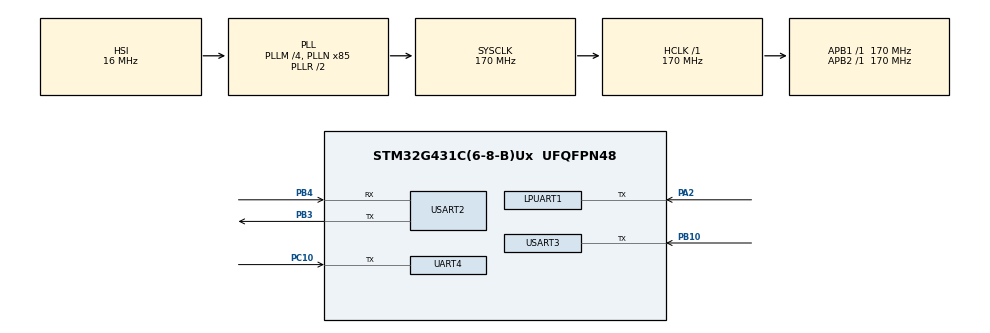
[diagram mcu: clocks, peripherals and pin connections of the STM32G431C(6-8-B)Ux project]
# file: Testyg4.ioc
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Dma.LPUART1_RX.2.Direction=DMA_PERIPH_TO_MEMORY
Dma.LPUART1_RX.2.EventEnable=DISABLE
Dma.LPUART1_RX.2.Instance=DMA1_Channel3
Dma.LPUART1_RX.2.MemDataAlignment=DMA_MDATAALIGN_BYTE
Dma.LPUART1_RX.2.MemInc=DMA_MINC_ENABLE
Dma.LPUART1_RX.2.Mode=DMA_CIRCULAR
Dma.LPUART1_RX.2.PeriphDataAlignment=DMA_PDATAALIGN_BYTE
Dma.LPUART1_RX.2.PeriphInc=DMA_PINC_DISABLE
Dma.LPUART1_RX.2.Polarity=HAL_DMAMUX_REQ_GEN_RISING
Dma.LPUART1_RX.2.Priority=DMA_PRIORITY_HIGH
Dma.LPUART1_RX.2.RequestNumber=1
Dma.LPUART1_RX.2.SignalID=NONE
Dma.LPUART1_RX.2.SyncEnable=DISABLE
Dma.LPUART1_RX.2.SyncPolarity=HAL_DMAMUX_SYNC_NO_EVENT
Dma.LPUART1_RX.2.SyncRequestNumber=1
Dma.LPUART1_RX.2.SyncSignalID=NONE
Dma.Request0=USART2_RX
Dma.Request1=USART3_RX
Dma.Request2=LPUART1_RX
Dma.Request3=UART4_RX
Dma.UART4_RX.3.Direction=DMA_PERIPH_TO_MEMORY
Dma.UART4_RX.3.EventEnable=DISABLE
Dma.UART4_RX.3.Instance=DMA1_Channel4
Dma.UART4_RX.3.MemDataAlignment=DMA_MDATAALIGN_BYTE
Dma.UART4_RX.3.MemInc=DMA_MINC_ENABLE
Dma.UART4_RX.3.Mode=DMA_CIRCULAR
Dma.UART4_RX.3.PeriphDataAlignment=DMA_PDATAALIGN_BYTE
Dma.UART4_RX.3.PeriphInc=DMA_PINC_DISABLE
Dma.UART4_RX.3.Polarity=HAL_DMAMUX_REQ_GEN_RISING
Dma.UART4_RX.3.Priority=DMA_PRIORITY_HIGH
Dma.UART4_RX.3.RequestNumber=1
Dma.UART4_RX.3.SignalID=NONE
Dma.UART4_RX.3.SyncEnable=DISABLE
Dma.UART4_RX.3.SyncPolarity=HAL_DMAMUX_SYNC_NO_EVENT
Dma.UART4_RX.3.SyncRequestNumber=1
Dma.UART4_RX.3.SyncSignalID=NONE
Dma.USART2_RX.0.Direction=DMA_PERIPH_TO_MEMORY
Dma.USART2_RX.0.EventEnable=DISABLE
Dma.USART2_RX.0.Instance=DMA1_Channel1
Dma.USART2_RX.0.MemDataAlignment=DMA_MDATAALIGN_BYTE
Dma.USART2_RX.0.MemInc=DMA_MINC_ENABLE
Dma.USART2_RX.0.Mode=DMA_CIRCULAR
Dma.USART2_RX.0.PeriphDataAlignment=DMA_PDATAALIGN_BYTE
Dma.USART2_RX.0.PeriphInc=DMA_PINC_DISABLE
Dma.USART2_RX.0.Polarity=HAL_DMAMUX_REQ_GEN_RISING
Dma.USART2_RX.0.Priority=DMA_PRIORITY_HIGH
Dma.USART2_RX.0.RequestNumber=1
Dma.USART2_RX.0.SignalID=NONE
Dma.USART2_RX.0.SyncEnable=DISABLE
Dma.USART2_RX.0.SyncPolarity=HAL_DMAMUX_SYNC_NO_EVENT
Dma.USART2_RX.0.SyncRequestNumber=1
Dma.USART2_RX.0.SyncSignalID=NONE
Dma.USART3_RX.1.Direction=DMA_PERIPH_TO_MEMORY
Dma.USART3_RX.1.EventEnable=DISABLE
Dma.USART3_RX.1.Instance=DMA1_Channel2
Dma.USART3_RX.1.MemDataAlignment=DMA_MDATAALIGN_BYTE
Dma.USART3_RX.1.MemInc=DMA_MINC_ENABLE
Dma.USART3_RX.1.Mode=DMA_CIRCULAR
Dma.USART3_RX.1.PeriphDataAlignment=DMA_PDATAALIGN_BYTE
Dma.USART3_RX.1.PeriphInc=DMA_PINC_DISABLE
Dma.USART3_RX.1.Polarity=HAL_DMAMUX_REQ_GEN_RISING
Dma.USART3_RX.1.Priority=DMA_PRIORITY_HIGH
Dma.USART3_RX.1.RequestNumber=1
Dma.USART3_RX.1.SignalID=NONE
Dma.USART3_RX.1.SyncEnable=DISABLE
Dma.USART3_RX.1.SyncPolarity=HAL_DMAMUX_SYNC_NO_EVENT
Dma.USART3_RX.1.SyncRequestNumber=1
Dma.USART3_RX.1.SyncSignalID=NONE
LPUART1.BaudRate=115200
LPUART1.Mode=UART_MODE_RX
Mcu.Family=STM32G4
Mcu.Name=STM32G431C(6-8-B)Ux
Mcu.Package=UFQFPN48
NVIC.DMA1_Channel1_IRQn=true\:0\:0\:false\:false\:true\:false\:true\:true
NVIC.DMA1_Channel2_IRQn=true\:0\:0\:false\:false\:true\:false\:true\:true
NVIC.DMA1_Channel3_IRQn=true\:0\:0\:false\:false\:true\:false\:true\:true
NVIC.DMA1_Channel4_IRQn=true\:0\:0\:false\:false\:true\:false\:true\:true
NVIC.LPUART1_IRQn=true\:0\:0\:false\:false\:true\:true\:true\:true
NVIC.PriorityGroup=NVIC_PRIORITYGROUP_4
NVIC.UART4_IRQn=true\:0\:0\:false\:false\:true\:true\:true\:true
NVIC.USART2_IRQn=true\:0\:0\:false\:false\:true\:true\:true\:true
PA13.Mode=Serial_Wire
PA13.Signal=SYS_JTMS-SWDIO
PA14.Mode=Serial_Wire
PA14.Signal=SYS_JTCK-SWCLK
PA2.Mode=Half_duplex(single_wire_mode)
PA2.Signal=LPUART1_TX
PB10.Mode=Half_duplex(single_wire_mode)
PB10.Signal=USART3_TX
PB3.Mode=Asynchronous
PB3.Signal=USART2_TX
PB4.Mode=Asynchronous
PB4.Signal=USART2_RX
PC10.Mode=Half_duplex(single_wire_mode)
PC10.Signal=UART4_TX
ProjectManager.HeapSize=0x200
ProjectManager.StackSize=0x400
ProjectManager.TargetToolchain=STM32CubeIDE
RCC.ADC12Freq_Value=170000000
RCC.AHBFreq_Value=170000000
RCC.APB1Freq_Value=170000000
RCC.APB1TimFreq_Value=170000000
RCC.APB2Freq_Value=170000000
RCC.APB2TimFreq_Value=170000000
RCC.CortexFreq_Value=170000000
RCC.EXTERNAL_CLOCK_VALUE=12288000
RCC.HCLKFreq_Value=170000000
RCC.HSE_VALUE=8000000
RCC.HSI48_VALUE=48000000
RCC.HSI_VALUE=16000000
RCC.LSE_VALUE=32768
RCC.PLLM=RCC_PLLM_DIV4
RCC.PLLN=85
RCC.SYSCLKFreq_VALUE=170000000
RCC.SYSCLKSource=RCC_SYSCLKSOURCE_PLLCLK
RCC.USBFreq_Value=170000000
RCC.VCOOutputFreq_Value=340000000
UART4.Mode=MODE_RX
USART2.VirtualMode-Asynchronous=VM_ASYNC
USART3.Mode=MODE_RX
USART3.VirtualMode-Half_duplex(single_wire_mode)=VM_ASYNC
VP_SYS_VS_DBSignals.Mode=DisableDeadBatterySignals
board=custom

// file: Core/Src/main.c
/* USER CODE BEGIN Header */
/**
  ******************************************************************************
  * @file           : main.c
  * @brief          : Main program body
  ******************************************************************************
  * @attention
  *
  * Copyright (c) 2026 STMicroelectronics.
  * All rights reserved.
  *
  * This software is licensed under terms that can be found in the LICENSE file
  * in the root directory of this software component.
  * If no LICENSE file comes with this software, it is provided AS-IS.
  *
  ******************************************************************************
  */
/* USER CODE END Header */
#include "main.h"

/* USER CODE BEGIN PD */
typedef struct {
    uint8_t state;
} AckParser;
/* USER CODE END PD */

UART_HandleTypeDef hlpuart1;
UART_HandleTypeDef huart4;
UART_HandleTypeDef huart2;
UART_HandleTypeDef huart3;
DMA_HandleTypeDef hdma_lpuart1_rx;
DMA_HandleTypeDef hdma_uart4_rx;
DMA_HandleTypeDef hdma_usart2_rx;
DMA_HandleTypeDef hdma_usart3_rx;

/* USER CODE BEGIN PV */
int32_t dupa = 0;
volatile uint8_t UART_TX[8];
volatile uint8_t UART1_RX[9];
volatile uint8_t UART2_RX[9];
volatile uint8_t UART3_RX[9];
volatile uint8_t UART4_RX[9];
uint8_t statusRX=0;
uint8_t statusTX=0;
uint8_t statusRX2=0;
uint8_t statusTX2=0;
/* USER CODE END PV */

void SystemClock_Config(void);
static void MX_GPIO_Init(void);
static void MX_DMA_Init(void);
static void MX_USART2_UART_Init(void);
static void MX_USART3_UART_Init(void);
static void MX_LPUART1_UART_Init(void);
static void MX_UART4_Init(void);
/* USER CODE BEGIN PFP */
static void AckParser_Push(AckParser *p, uint8_t b, volatile uint8_t *ack);
static void Luna_StartRx(UART_HandleTypeDef *huart, uint8_t *buffer, uint16_t size);
/* USER CODE END PFP */

/* USER CODE BEGIN 0 */
#define LUNA_DMA_SIZE 32U

static uint8_t rx1_dma[LUNA_DMA_SIZE];
static uint8_t rx2_dma[LUNA_DMA_SIZE];
static uint8_t rx3_dma[LUNA_DMA_SIZE];
static uint8_t rx4_dma[LUNA_DMA_SIZE];

HAL_StatusTypeDef txStatus;

static AckParser parser1;
static AckParser parser2;
static AckParser parser3;
static AckParser parser4;

static volatile uint8_t ack1;
static volatile uint8_t ack2;
static volatile uint8_t ack3;
static volatile uint8_t ack4;
/* USER CODE END 0 */

int main(void)
{

  /* MCU Configuration--------------------------------------------------------*/

  /* Reset of all peripherals, Initializes the Flash interface and the Systick. */
  HAL_Init();

  /* Configure the system clock */
  SystemClock_Config();

  /* Initialize all configured peripherals */
  MX_GPIO_Init();
  MX_DMA_Init();
  MX_USART2_UART_Init();
  MX_USART3_UART_Init();
  MX_LPUART1_UART_Init();
  MX_UART4_Init();
  /* USER CODE BEGIN 2 */

	//LIDARS OFF
	UART_TX[0] = 0x5A;
	UART_TX[1] = 0x05;
	UART_TX[2] = 0x07;
	UART_TX[3] = 0x00;
	UART_TX[4] = (UART_TX[0] + UART_TX[1] + UART_TX[2] + UART_TX[3]) % 0x100;
	//HAL_UART_Transmit(&huart2, UART_TX, 5, 300);
	//HAL_UART_Receive(&hlpuart1, UART1_RX, 4, 300);

	//statusTX = HAL_UART_Transmit(&huart2, UART_TX, 5, 300);
	//statusRX = HAL_UART_Receive(&huart2, UART2_RX, 4, 300);
/*
	statusTX2 =HAL_UART_Transmit(&huart2, UART_TX, 5, 300);
	statusRX2 = HAL_UART_Receive(&huart4, UART4_RX, 3, 300);

	HAL_Delay(100);

	statusTX = HAL_UART_Transmit(&huart2, UART_TX, 5, 300);
	statusRX = HAL_UART_Receive(&huart3, UART3_RX, 3, 300);

	*/
	Luna_StartRx(&hlpuart1, rx1_dma, sizeof rx1_dma);
	Luna_StartRx(&huart2, rx2_dma, sizeof rx2_dma);
	Luna_StartRx(&huart3, rx3_dma, sizeof rx3_dma);
	Luna_StartRx(&huart4, rx4_dma, sizeof rx4_dma);

	static const uint8_t cmd_disable_output[5] = {
	    0x5A, 0x05, 0x07, 0x00, 0x66
	};

	ack1 = 0;
	ack2 = 0;
	ack3 = 0;
	ack4 = 0;

	txStatus =
	    HAL_UART_Transmit(&huart2,
	                      (uint8_t *)cmd_disable_output,
	                      sizeof(cmd_disable_output),
	                      100);

	if (txStatus != HAL_OK) {
	    // Błąd nadawania z MCU.
	}

	uint32_t start = HAL_GetTick();
	while (((ack1 == 0) || (ack2 == 0) || (ack3 == 0) || (ack4 == 0)) &&
	       ((HAL_GetTick() - start) < 1000U)) {
	    // Nie blokuj odbioru; oba RX-y działają w DMA.
	}

	if (ack1 && ack2 && ack3 && ack4) {
	    // Oba czujniki potwierdziły wyłączenie.
	} else {
	    // Brak potwierdzenia: sprawdź osobno ack3 i ack4.
	}

  /* USER CODE END 2 */

  /* Infinite loop */
  /* USER CODE BEGIN WHILE */
  while (1)
  {

	  dupa=dupa+1;

    /* USER CODE END WHILE */

  }
}

void SystemClock_Config(void)
{
  RCC_OscInitTypeDef RCC_OscInitStruct = {0};
  RCC_ClkInitTypeDef RCC_ClkInitStruct = {0};

  /** Configure the main internal regulator output voltage
  */
  HAL_PWREx_ControlVoltageScaling(PWR_REGULATOR_VOLTAGE_SCALE1_BOOST);

  /** Initializes the RCC Oscillators according to the specified parameters
  * in the RCC_OscInitTypeDef structure.
  */
  RCC_OscInitStruct.OscillatorType = RCC_OSCILLATORTYPE_HSI;
  RCC_OscInitStruct.HSIState = RCC_HSI_ON;
  RCC_OscInitStruct.HSICalibrationValue = RCC_HSICALIBRATION_DEFAULT;
  RCC_OscInitStruct.PLL.PLLState = RCC_PLL_ON;
  RCC_OscInitStruct.PLL.PLLSource = RCC_PLLSOURCE_HSI;
  RCC_OscInitStruct.PLL.PLLM = RCC_PLLM_DIV4;
  RCC_OscInitStruct.PLL.PLLN = 85;
  RCC_OscInitStruct.PLL.PLLP = RCC_PLLP_DIV2;
  RCC_OscInitStruct.PLL.PLLQ = RCC_PLLQ_DIV2;
  RCC_OscInitStruct.PLL.PLLR = RCC_PLLR_DIV2;
  if (HAL_RCC_OscConfig(&RCC_OscInitStruct) != HAL_OK)
  {
    Error_Handler();
  }

  /** Initializes the CPU, AHB and APB buses clocks
  */
  RCC_ClkInitStruct.ClockType = RCC_CLOCKTYPE_HCLK|RCC_CLOCKTYPE_SYSCLK
                              |RCC_CLOCKTYPE_PCLK1|RCC_CLOCKTYPE_PCLK2;
  RCC_ClkInitStruct.SYSCLKSource = RCC_SYSCLKSOURCE_PLLCLK;
  RCC_ClkInitStruct.AHBCLKDivider = RCC_SYSCLK_DIV1;
  RCC_ClkInitStruct.APB1CLKDivider = RCC_HCLK_DIV1;
  RCC_ClkInitStruct.APB2CLKDivider = RCC_HCLK_DIV1;

  if (HAL_RCC_ClockConfig(&RCC_ClkInitStruct, FLASH_LATENCY_4) != HAL_OK)
  {
    Error_Handler();
  }
}

static void MX_LPUART1_UART_Init(void)
{

  hlpuart1.Instance = LPUART1;
  hlpuart1.Init.BaudRate = 115200;
  hlpuart1.Init.WordLength = UART_WORDLENGTH_8B;
  hlpuart1.Init.StopBits = UART_STOPBITS_1;
  hlpuart1.Init.Parity = UART_PARITY_NONE;
  hlpuart1.Init.Mode = UART_MODE_RX;
  hlpuart1.Init.HwFlowCtl = UART_HWCONTROL_NONE;
  hlpuart1.Init.OneBitSampling = UART_ONE_BIT_SAMPLE_DISABLE;
  hlpuart1.Init.ClockPrescaler = UART_PRESCALER_DIV1;
  hlpuart1.AdvancedInit.AdvFeatureInit = UART_ADVFEATURE_NO_INIT;
  if (HAL_HalfDuplex_Init(&hlpuart1) != HAL_OK)
  {
    Error_Handler();
  }
  if (HAL_UARTEx_SetTxFifoThreshold(&hlpuart1, UART_TXFIFO_THRESHOLD_1_8) != HAL_OK)
  {
    Error_Handler();
  }
  if (HAL_UARTEx_SetRxFifoThreshold(&hlpuart1, UART_RXFIFO_THRESHOLD_1_8) != HAL_OK)
  {
    Error_Handler();
  }
  if (HAL_UARTEx_DisableFifoMode(&hlpuart1) != HAL_OK)
  {
    Error_Handler();
  }

}

static void MX_UART4_Init(void)
{

  huart4.Instance = UART4;
  huart4.Init.BaudRate = 115200;
  huart4.Init.WordLength = UART_WORDLENGTH_8B;
  huart4.Init.StopBits = UART_STOPBITS_1;
  huart4.Init.Parity = UART_PARITY_NONE;
  huart4.Init.Mode = UART_MODE_RX;
  huart4.Init.HwFlowCtl = UART_HWCONTROL_NONE;
  huart4.Init.OverSampling = UART_OVERSAMPLING_16;
  huart4.Init.OneBitSampling = UART_ONE_BIT_SAMPLE_DISABLE;
  huart4.Init.ClockPrescaler = UART_PRESCALER_DIV1;
  huart4.AdvancedInit.AdvFeatureInit = UART_ADVFEATURE_NO_INIT;
  if (HAL_HalfDuplex_Init(&huart4) != HAL_OK)
  {
    Error_Handler();
  }
  if (HAL_UARTEx_SetTxFifoThreshold(&huart4, UART_TXFIFO_THRESHOLD_1_8) != HAL_OK)
  {
    Error_Handler();
  }
  if (HAL_UARTEx_SetRxFifoThreshold(&huart4, UART_RXFIFO_THRESHOLD_1_8) != HAL_OK)
  {
    Error_Handler();
  }
  if (HAL_UARTEx_DisableFifoMode(&huart4) != HAL_OK)
  {
    Error_Handler();
  }

}

static void MX_USART2_UART_Init(void)
{

  huart2.Instance = USART2;
  huart2.Init.BaudRate = 115200;
  huart2.Init.WordLength = UART_WORDLENGTH_8B;
  huart2.Init.StopBits = UART_STOPBITS_1;
  huart2.Init.Parity = UART_PARITY_NONE;
  huart2.Init.Mode = UART_MODE_TX_RX;
  huart2.Init.HwFlowCtl = UART_HWCONTROL_NONE;
  huart2.Init.OverSampling = UART_OVERSAMPLING_16;
  huart2.Init.OneBitSampling = UART_ONE_BIT_SAMPLE_DISABLE;
  huart2.Init.ClockPrescaler = UART_PRESCALER_DIV1;
  huart2.AdvancedInit.AdvFeatureInit = UART_ADVFEATURE_NO_INIT;
  if (HAL_UART_Init(&huart2) != HAL_OK)
  {
    Error_Handler();
  }
  if (HAL_UARTEx_SetTxFifoThreshold(&huart2, UART_TXFIFO_THRESHOLD_1_8) != HAL_OK)
  {
    Error_Handler();
  }
  if (HAL_UARTEx_SetRxFifoThreshold(&huart2, UART_RXFIFO_THRESHOLD_1_8) != HAL_OK)
  {
    Error_Handler();
  }
  if (HAL_UARTEx_DisableFifoMode(&huart2) != HAL_OK)
  {
    Error_Handler();
  }

}

static void MX_USART3_UART_Init(void)
{

  huart3.Instance = USART3;
  huart3.Init.BaudRate = 115200;
  huart3.Init.WordLength = UART_WORDLENGTH_8B;
  huart3.Init.StopBits = UART_STOPBITS_1;
  huart3.Init.Parity = UART_PARITY_NONE;
  huart3.Init.Mode = UART_MODE_RX;
  huart3.Init.HwFlowCtl = UART_HWCONTROL_NONE;
  huart3.Init.OverSampling = UART_OVERSAMPLING_16;
  huart3.Init.OneBitSampling = UART_ONE_BIT_SAMPLE_DISABLE;
  huart3.Init.ClockPrescaler = UART_PRESCALER_DIV1;
  huart3.AdvancedInit.AdvFeatureInit = UART_ADVFEATURE_NO_INIT;
  if (HAL_HalfDuplex_Init(&huart3) != HAL_OK)
  {
    Error_Handler();
  }
  if (HAL_UARTEx_SetTxFifoThreshold(&huart3, UART_TXFIFO_THRESHOLD_1_8) != HAL_OK)
  {
    Error_Handler();
  }
  if (HAL_UARTEx_SetRxFifoThreshold(&huart3, UART_RXFIFO_THRESHOLD_1_8) != HAL_OK)
  {
    Error_Handler();
  }
  if (HAL_UARTEx_DisableFifoMode(&huart3) != HAL_OK)
  {
    Error_Handler();
  }

}

static void MX_DMA_Init(void)
{

  /* DMA controller clock enable */
  __HAL_RCC_DMAMUX1_CLK_ENABLE();
  __HAL_RCC_DMA1_CLK_ENABLE();

  /* DMA interrupt init */
  /* DMA1_Channel1_IRQn interrupt configuration */
  HAL_NVIC_SetPriority(DMA1_Channel1_IRQn, 0, 0);
  HAL_NVIC_EnableIRQ(DMA1_Channel1_IRQn);
  /* DMA1_Channel2_IRQn interrupt configuration */
  HAL_NVIC_SetPriority(DMA1_Channel2_IRQn, 0, 0);
  HAL_NVIC_EnableIRQ(DMA1_Channel2_IRQn);
  /* DMA1_Channel3_IRQn interrupt configuration */
  HAL_NVIC_SetPriority(DMA1_Channel3_IRQn, 0, 0);
  HAL_NVIC_EnableIRQ(DMA1_Channel3_IRQn);
  /* DMA1_Channel4_IRQn interrupt configuration */
  HAL_NVIC_SetPriority(DMA1_Channel4_IRQn, 0, 0);
  HAL_NVIC_EnableIRQ(DMA1_Channel4_IRQn);

}

static void MX_GPIO_Init(void)
{

  /* GPIO Ports Clock Enable */
  __HAL_RCC_GPIOA_CLK_ENABLE();
  __HAL_RCC_GPIOB_CLK_ENABLE();
  __HAL_RCC_GPIOC_CLK_ENABLE();

}

/* USER CODE BEGIN 4 */

void HAL_UARTEx_RxEventCallback(UART_HandleTypeDef *huart, uint16_t size)
{
    uint8_t *buffer;
    AckParser *parser;
    volatile uint8_t *ack;

    if (huart->Instance == USART1) {
        buffer = rx1_dma;
        parser = &parser1;
        ack = &ack1;
    } else if (huart->Instance == USART2) {
		buffer = rx2_dma;
		parser = &parser2;
		ack = &ack2;
	}else if (huart->Instance == USART3) {
        buffer = rx3_dma;
        parser = &parser3;
        ack = &ack3;
    } else if (huart->Instance == UART4) {
        buffer = rx4_dma;
        parser = &parser4;
        ack = &ack4;
    } else {
        return;
    }

    for (uint16_t i = 0; i < size; i++) {
        AckParser_Push(parser, buffer[i], ack);
    }

    // DMA w trybie Normal trzeba uzbroić ponownie po każdym zdarzeniu.
    if (HAL_UARTEx_ReceiveToIdle_DMA(huart, buffer, LUNA_DMA_SIZE) == HAL_OK) {
        __HAL_DMA_DISABLE_IT(huart->hdmarx, DMA_IT_HT);
    }
}

static void AckParser_Push(AckParser *p, uint8_t b, volatile uint8_t *ack)
{
    switch (p->state) {
    case 0: p->state = (b == 0x5A) ? 1 : 0; break;
    case 1: p->state = (b == 0x05) ? 2 : ((b == 0x5A) ? 1 : 0); break;
    case 2: p->state = (b == 0x07) ? 3 : ((b == 0x5A) ? 1 : 0); break;
    case 3: p->state = (b == 0x00) ? 4 : ((b == 0x5A) ? 1 : 0); break;
    case 4:
        if (b == 0x66) {
            *ack = 1;
        }
        p->state = (b == 0x5A) ? 1 : 0;
        break;
    default:
        p->state = 0;
        break;
    }
}

static void Luna_StartRx(UART_HandleTypeDef *huart, uint8_t *buffer,uint16_t size)
{
    if (HAL_UARTEx_ReceiveToIdle_DMA(huart, buffer, size) != HAL_OK) {
        Error_Handler();
    }

    // Odbiór kończymy przy IDLE albo po zapełnieniu bufora.
    // Wyłączamy callback po połowie bufora.
    __HAL_DMA_DISABLE_IT(huart->hdmarx, DMA_IT_HT);
}

/* USER CODE END 4 */

void Error_Handler(void)
{
  __disable_irq();
  while (1)
  {
  }
}
